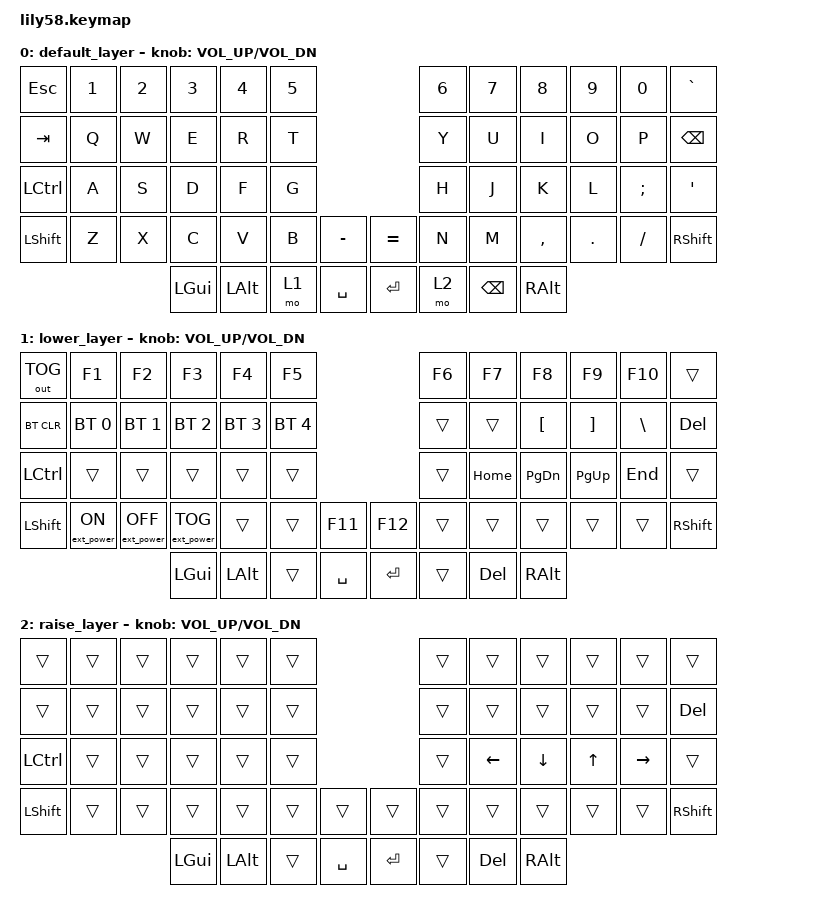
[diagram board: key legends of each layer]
/*
 * Copyright (c) 2020 The ZMK Contributors
 *
 * SPDX-License-Identifier: MIT
 */

#include <behaviors.dtsi>
#include <dt-bindings/zmk/keys.h>
#include <dt-bindings/zmk/bt.h>
#include <dt-bindings/zmk/ext_power.h>
#include <dt-bindings/zmk/outputs.h>

/ {
	keymap {
		compatible = "zmk,keymap";

		default_layer {
// ------------------------------------------------------------------------------------------------------------
// |  ESC  |  1  |  2  |  3   |  4   |  5   |                   |  6   |  7    |  8    |  9   |   0   |   `   |
// |  TAB  |  Q  |  W  |  E   |  R   |  T   |                   |  Y   |  U    |  I    |  O   |   P   | BSPC  |
// |  CTRL |  A  |  S  |  D   |  F   |  G   |                   |  H   |  J    |  K    |  L   |   ;   |   '   |
// | SHIFT |  Z  |  X  |  C   |  V   |  B   |    -   |  |   =   |  N   |  M    |  ,    |  .   |   /   | SHIFT |
//                     | GUI  | ALT  | LOWER|  SPACE |  | ENTER | RAISE| BSPC  | ALT   |
			bindings = <
&kp ESC   &kp N1 &kp N2 &kp N3   &kp N4   &kp N5                       &kp N6 &kp N7   &kp N8    &kp N9  &kp N0   &kp GRAVE
&kp TAB   &kp Q  &kp W  &kp E    &kp R    &kp T                        &kp Y  &kp U    &kp I     &kp O   &kp P    &kp BSPC
&kp LCTRL &kp A  &kp S  &kp D    &kp F    &kp G                        &kp H  &kp J    &kp K     &kp L   &kp SEMI &kp SQT
&kp LSHFT &kp Z  &kp X  &kp C    &kp V    &kp B  &kp MINUS  &kp EQUAL  &kp N  &kp M    &kp COMMA &kp DOT &kp FSLH &kp RSHFT
                        &kp LGUI &kp LALT &mo 1   &kp SPACE  &kp RET   &mo 2  &kp BSPC &kp RALT
			>;

			sensor-bindings = <&inc_dec_kp C_VOL_UP C_VOL_DN>;
		};
		
		lower_layer {
// ------------------------------------------------------------------------------------------------------------
// | OUT_TOG |  F1   |   F2   |   F3   |  F4  |  F5  |                   |  F6  |  F7   |  F8   |  F9   |  F10  |       |
// |  BTCLR  |  BT1  |   BT2  |   BT3  |  BT4 |  BT5 |                   |      |       |  [    |   ]   |   \   |  DEL  |
// |   CTRL  |       |        |        |      |      |                   |      |  HOME | PG_DN | PG_UP |  END  |       |
// |  SHIFT  | EP_ON | EP_OFF | EP_TOG |      |      |  F11   |  |  F12  |      |       |       |       |       | SHIFT |
//                            |   GUI  | ALT  |      |  SPACE |  | ENTER |      |  DEL  |  ALT  |
			bindings = <
&out OUT_TOG  &kp F1            &kp F2             &kp F3             &kp F4       &kp F5                         &kp F6    &kp F7    &kp F8      &kp F9    &kp F10   &trans
&bt BT_CLR    &bt BT_SEL 0      &bt BT_SEL 1       &bt BT_SEL 2       &bt BT_SEL 3 &bt BT_SEL 4                   &trans    &trans    &kp LBKT    &kp RBKT  &kp BSLH  &kp DEL
&kp LCTRL     &trans            &trans             &trans             &trans       &trans                         &trans    &kp HOME  &kp PG_DN   &kp PG_UP &kp END   &trans
&kp LSHFT     &ext_power EP_ON  &ext_power EP_OFF  &ext_power EP_TOG  &trans       &trans    &kp F11    &kp F12   &trans    &trans    &trans      &trans    &trans    &kp RSHFT
                                                   &kp LGUI           &kp LALT     &trans    &kp SPACE  &kp RET   &trans    &kp DEL   &kp RALT
			>;

			sensor-bindings = <&inc_dec_kp C_VOL_UP C_VOL_DN>;
		};

		raise_layer {
// ------------------------------------------------------------------------------------------------------------
// |       |     |     |      |      |      |                   |      |       |       |      |       |       |
// |       |     |     |      |      |      |                   |      |       |       |      |       |  DEL  |
// |  CTRL |     |     |      |      |      |                   |      |   <-  |   v   |  ^   |  ->   |       |
// | SHIFT |     |     |      |      |      |        |  |       |      |       |       |      |       | SHIFT |
//                     |  GUI |  ALT |      |  SPACE |  | ENTER |      |  DEL  |  ALT  |
			bindings = <
&trans     &trans  &trans  &trans   &trans   &trans                         &trans    &trans    &trans    &trans   &trans    &trans
&trans     &trans  &trans  &trans   &trans   &trans                         &trans    &trans    &trans    &trans   &trans    &kp DEL
&kp LCTRL  &trans  &trans  &trans   &trans   &trans                         &trans    &kp LEFT  &kp DOWN  &kp UP   &kp RIGHT &trans
&kp LSHFT  &trans  &trans  &trans   &trans   &trans    &trans     &trans    &trans    &trans    &trans    &trans   &trans    &kp RSHFT
                           &kp LGUI &kp LALT &trans    &kp SPACE  &kp RET   &trans    &kp DEL   &kp RALT
			>;

			sensor-bindings = <&inc_dec_kp C_VOL_UP C_VOL_DN>;
		};
	};
};
